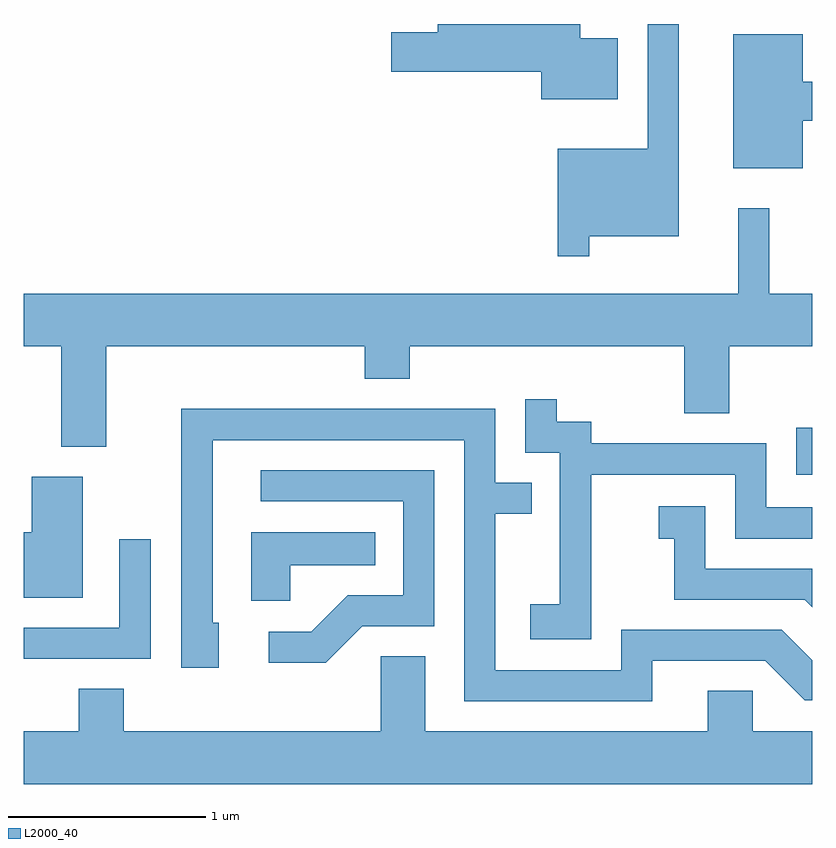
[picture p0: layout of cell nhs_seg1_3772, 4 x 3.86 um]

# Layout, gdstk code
import gdstk
lib = gdstk.Library(unit=1e-6, precision=1e-09)
def R(c, l, rs):  # rectangles x0, y0, x1, y1
    for r in rs: c.add(gdstk.rectangle(r[:2], r[2:], *l))
def P(c, l, *ps):  # polygons
    for p in ps: c.add(gdstk.Polygon(p, *l))
L2000_40 = (2000, 40)

nhs_seg1_3772 = lib.new_cell('nhs_seg1_3772')
R(nhs_seg1_3772, L2000_40, [(303.531,843.426,303.611,843.663)])
P(nhs_seg1_3772, L2000_40, [(302.624,845.639),(302.434,845.639),(302.434,845.712),(301.711,845.712),(301.711,845.669),(301.476,845.669),(301.476,845.471),(302.236,845.471),(302.236,845.331),(302.624,845.331)],
  [(302.479,844.636),(302.934,844.636),(302.934,845.712),(302.776,845.712),(302.776,845.079),(302.321,845.079),(302.321,844.533),(302.479,844.533)],
  [(303.564,845.221),(303.611,845.221),(303.611,845.419),(303.564,845.419),(303.564,845.659),(303.211,845.659),(303.211,844.981),(303.564,844.981)],
  [(300.029,844.076),(301.341,844.076),(301.341,843.911),(301.569,843.911),(301.569,844.076),(302.961,844.076),(302.961,843.736),(303.189,843.736),(303.189,844.076),(303.611,844.076),(303.611,844.344),(303.394,844.344),(303.394,844.778),(303.236,844.778),(303.236,844.344),(299.611,844.344),(299.611,844.076),(299.801,844.076),(299.801,843.566),(300.029,843.566)],
  [(302.489,843.426),(303.221,843.426),(303.221,843.101),(303.611,843.101),(303.611,843.259),(303.379,843.259),(303.379,843.584),(302.489,843.584),(302.489,843.694),(302.314,843.694),(302.314,843.808),(302.156,843.808),(302.156,843.536),(302.331,843.536),(302.331,842.769),(302.181,842.769),(302.181,842.591),(302.489,842.591)],
  [(302.799,842.481),(303.374,842.481),(303.574,842.281),(303.611,842.281),(303.611,842.485),(303.457,842.639),(302.641,842.639),(302.641,842.434),(302.004,842.434),(302.004,843.226),(302.188,843.226),(302.188,843.384),(302.004,843.384),(302.004,843.759),(300.411,843.759),(300.411,842.446),(300.599,842.446),(300.599,842.674),(300.569,842.674),(300.569,843.601),(301.846,843.601),(301.846,842.276),(302.799,842.276)],
  [(301.327,842.656),(301.694,842.656),(301.694,843.449),(300.813,843.449),(300.813,843.291),(301.536,843.291),(301.536,842.814),(301.254,842.814),(301.069,842.629),(300.853,842.629),(300.853,842.471),(301.142,842.471)],
  [(299.909,843.414),(299.651,843.414),(299.651,843.134),(299.611,843.134),(299.611,842.801),(299.909,842.801)],
  [(303.611,842.949),(303.069,842.949),(303.069,843.264),(302.833,843.264),(302.833,843.101),(302.911,843.101),(302.911,842.791),(303.574,842.791),(303.611,842.754)],
  [(300.964,842.966),(301.393,842.966),(301.393,843.134),(300.766,843.134),(300.766,842.786),(300.964,842.786)],
  [(300.254,843.098),(300.096,843.098),(300.096,842.649),(299.611,842.649),(299.611,842.491),(300.254,842.491)],
  [(303.611,842.124),(303.309,842.124),(303.309,842.329),(303.081,842.329),(303.081,842.124),(301.649,842.124),(301.649,842.504),(301.421,842.504),(301.421,842.124),(300.119,842.124),(300.119,842.339),(299.891,842.339),(299.891,842.124),(299.611,842.124),(299.611,841.856),(303.611,841.856)])

lib.write_gds('nhs_seg1_3772.gds')
